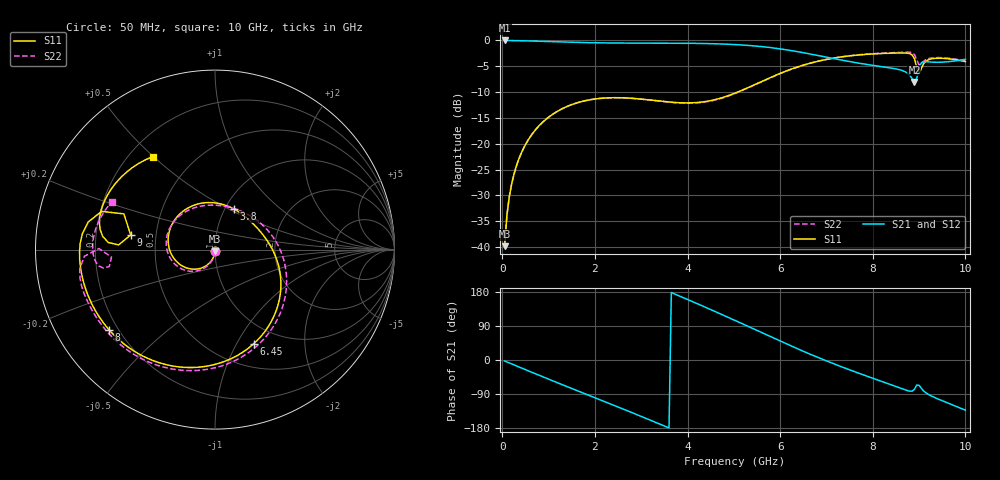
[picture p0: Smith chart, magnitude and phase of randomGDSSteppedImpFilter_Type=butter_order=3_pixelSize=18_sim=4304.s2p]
! freq	dB(S11)	phase(S11)	dB(S12)	phase(S12)
!  dB(S21)	phase(S21)	dB(S22)	phase(S22)
!S-par simulation data
#  GHz  S  DB  R 50
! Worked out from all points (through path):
!   200 points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, 50 MHz to 10 GHz, reference 50 ohm
!   highest |S21| = 0.00 dB at 50 MHz (marker M1); lowest = -8.1 dB at 8.9 GHz (marker M2)
!   group delay of S21, straight-line fit = 139 ps
!   lowest |S11| = -39.8 dB at 50 MHz (marker M3), VSWR 1.02, Z = 49.9 - j1.02 ohm
!   |S11| at or under -10 dB: start of sweep to 5.082 GHz
!   |S22| runs from -39.8 to -2.3 dB; largest |S21 - S12| = 0
!   S11 on the Smith chart (normalised r, x): 50 MHz: 1.00, -0.02; 3.8 GHz: 1.10, +0.53; 6.45 GHz: 0.76, -1.18; 8 GHz: 0.17, -0.33; 9 GHz: 0.36, +0.08; 10 GHz: 0.29, +0.50
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0.05  -39.83 -92.3  -0.00 -2.6  -0.00 -2.6  -39.82 -92.0
0.1  -33.84 -95.2  -0.01 -5.2  -0.01 -5.2  -33.83 -94.5
0.2  -27.89 -100.8  -0.02 -10.3  -0.02 -10.3  -27.88 -99.6
0.5  -20.18 -117.5  -0.08 -25.5  -0.08 -25.5  -20.17 -114.4
1.15  -13.93 -152.3  -0.25 -58.0  -0.25 -58.0  -13.93 -145.0
1.75  -11.75 176.0  -0.41 -87.4  -0.41 -87.4  -11.75 -172.2
2.5  -11.09 136.0  -0.51 -124.0  -0.51 -124.0  -11.09 154.4
3.4  -11.74 86.8  -0.52 -169.1  -0.52 -169.1  -11.77 113.6
3.8  -12.05 65.0  -0.53 170.3  -0.53 170.3  -12.10 94.0
4.35  -11.88 36.7  -0.59 141.2  -0.59 141.2  -11.95 64.2
5.05  -10.12 2.9  -0.81 103.0  -0.81 103.0  -10.19 21.8
5.65  -7.74 -26.6  -1.24 69.6  -1.24 69.6  -7.79 -15.2
6.45  -4.92 -67.7  -2.29 25.7  -2.29 25.7  -4.94 -61.0
6.7  -4.28 -80.5  -2.71 12.7  -2.71 12.7  -4.29 -74.1
7.35  -3.16 -112.4  -3.85 -19.1  -3.85 -19.1  -3.14 -105.2
8  -2.61 -142.9  -4.82 -48.2  -4.82 -48.2  -2.56 -132.7
8.35  -2.48 -159.6  -5.28 -63.4  -5.28 -63.4  -2.40 -146.8
8.75  -2.47 177.4  -6.34 -80.8  -6.34 -80.8  -2.27 -164.9
8.9  -3.52 161.4  -8.05 -76.9  -8.05 -76.9  -2.75 -177.1
9  -6.43 170.1  -5.24 -66.8  -5.24 -66.8  -4.76 -175.9
9.3  -3.51 164.0  -4.21 -97.0  -4.21 -97.0  -3.36 -177.7
10  -4.11 123.8  -3.65 -132.4  -3.65 -132.4  -3.99 155.1
